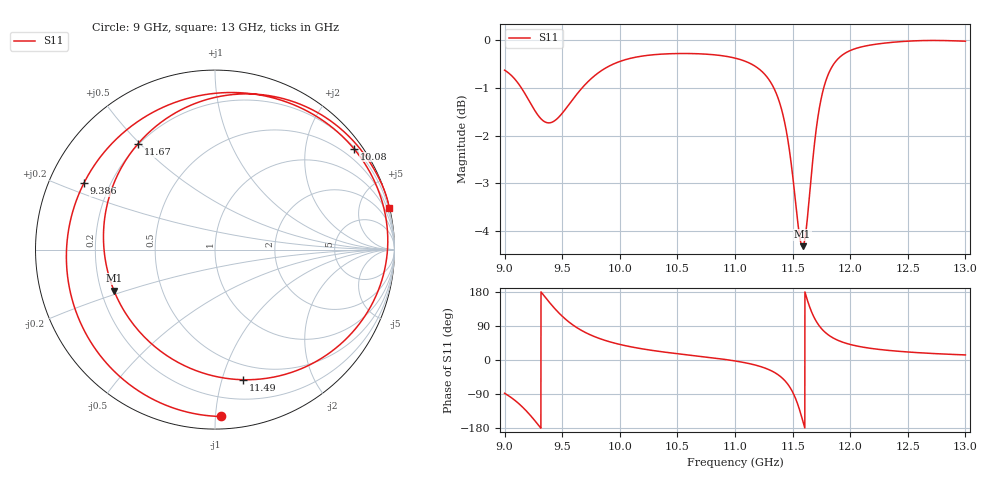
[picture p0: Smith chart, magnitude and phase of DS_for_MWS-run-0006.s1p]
! TOUCHSTONE file generated by CST DESIGN STUDIO
! Date and time: Tue Feb  4 12:52:48 2025
! Project name: C:\Work\MatlabApps\UnitCellOptimizationMatlab\CST\unitcell.cst
! Tree item: Tasks\Sweep1\SPara1\S-Parameters
! Header version: 2024
! Port assignment regex: !\s*Touchstone port\s*([0-9]+)\s*=\s*(CST MWS port|CST DES external port|CST DES block port)\s*(.+)\s* \(\"(.*)\"\)(\s*mode\s*([0-9]+))?.*
! Touchstone port assignment:
! Touchstone port 1 = CST DES external port 1 ("")
# GHz S MA R 50
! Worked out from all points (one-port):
!   4001 points, 9 GHz to 13 GHz, reference 50 ohm
!   lowest |S11| = -4.3 dB at 11.59 GHz (marker M1), VSWR 4.10, Z = 12.6 - j9.13 ohm
!   |S11| at or under -10 dB: nowhere
!   S11 on the Smith chart (normalised r, x): 9 GHz: 0.07, -1.04; 9.386 GHz: 0.11, +0.24; 10.08 GHz: 0.23, +3.06; 11.49 GHz: 0.36, -1.17; 11.67 GHz: 0.20, +0.49; 13 GHz: 0.07, +8.51
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9  0.9305 -87.8
9.094  0.909 -107.6
9.174  0.8801 -129.8
9.285  0.8358 -168.5
9.386  0.819 153.2
9.5  0.8383 115.6
9.6  0.8694 90.9
9.732  0.9069 68.1
10  0.9503 41.1
10.076  0.9565 36.0
10.5  0.9687 16.6
11  0.9581 -2.5
11.198  0.9353 -15.1
11.325  0.897 -29.9
11.415  0.8364 -49.0
11.488  0.7421 -77.7
11.5  0.7218 -84.4
11.543  0.6468 -115.5
11.586  0.6076 -158.0
11.623  0.6408 163.0
11.666  0.729 126.1
11.726  0.8399 92.4
11.812  0.9227 65.8
11.894  0.9564 51.9
12  0.9757 41.0
12.194  0.9897 30.1
12.5  0.9982 21.1
13  0.9981 13.4
